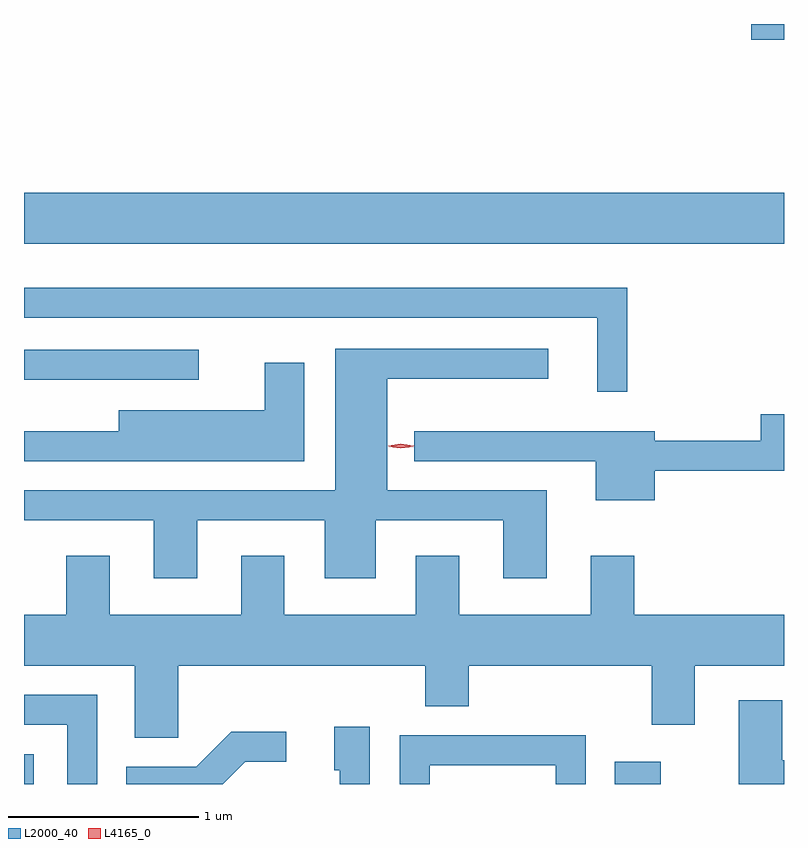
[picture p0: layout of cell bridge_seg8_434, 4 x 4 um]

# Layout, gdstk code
import gdstk
lib = gdstk.Library(unit=1e-6, precision=1e-09)
def R(c, l, rs):  # rectangles x0, y0, x1, y1
    for r in rs: c.add(gdstk.rectangle(r[:2], r[2:], *l))
def P(c, l, *ps):  # polygons
    for p in ps: c.add(gdstk.Polygon(p, *l))
L2000_40 = (2000, 40)
L4165_0 = (4165, 0)

bridge_seg8_434 = lib.new_cell('bridge_seg8_434')
R(bridge_seg8_434, L2000_40, [(981.038,1844.673,981.089,1844.829), (984.146,1844.673,984.389,1844.789), (981.038,1846.801,981.958,1846.959), (981.038,1847.516,985.038,1847.784), (984.866,1848.591,985.038,1848.673)])
P(bridge_seg8_434, L2000_40, [(984.214,1847.284),(981.038,1847.284),(981.038,1847.126),(984.056,1847.126),(984.056,1846.738),(984.214,1846.738)],
  [(981.949,1846.061),(982.621,1846.061),(982.621,1845.756),(982.889,1845.756),(982.889,1846.061),(983.561,1846.061),(983.561,1845.756),(983.789,1845.756),(983.789,1846.219),(982.949,1846.219),(982.949,1846.806),(983.798,1846.806),(983.798,1846.964),(982.676,1846.964),(982.676,1846.219),(981.038,1846.219),(981.038,1846.061),(981.721,1846.061),(981.721,1845.756),(981.949,1845.756)],
  [(982.514,1846.889),(982.306,1846.889),(982.306,1846.639),(981.536,1846.639),(981.536,1846.529),(981.038,1846.529),(981.038,1846.371),(982.514,1846.371)],
  [(984.359,1846.321),(985.038,1846.321),(985.038,1846.619),(984.916,1846.619),(984.916,1846.479),(984.359,1846.479),(984.359,1846.529),(983.093,1846.529),(983.093,1846.371),(984.046,1846.371),(984.046,1846.166),(984.359,1846.166)],
  [(981.849,1845.296),(983.151,1845.296),(983.151,1845.081),(983.379,1845.081),(983.379,1845.296),(984.341,1845.296),(984.341,1844.986),(984.569,1844.986),(984.569,1845.296),(985.038,1845.296),(985.038,1845.564),(984.249,1845.564),(984.249,1845.874),(984.021,1845.874),(984.021,1845.564),(983.329,1845.564),(983.329,1845.874),(983.101,1845.874),(983.101,1845.564),(982.409,1845.564),(982.409,1845.874),(982.181,1845.874),(982.181,1845.564),(981.489,1845.564),(981.489,1845.874),(981.261,1845.874),(981.261,1845.564),(981.038,1845.564),(981.038,1845.296),(981.621,1845.296),(981.621,1844.916),(981.849,1844.916)],
  [(981.424,1845.144),(981.038,1845.144),(981.038,1844.986),(981.266,1844.986),(981.266,1844.673),(981.424,1844.673)],
  [(985.038,1844.799),(985.029,1844.799),(985.029,1845.114),(984.801,1845.114),(984.801,1844.673),(985.038,1844.673)],
  [(982.859,1844.974),(982.671,1844.974),(982.671,1844.746),(982.701,1844.746),(982.701,1844.673),(982.859,1844.673)],
  [(982.202,1844.791),(982.418,1844.791),(982.418,1844.949),(982.129,1844.949),(981.944,1844.764),(981.576,1844.764),(981.576,1844.673),(982.084,1844.673)],
  [(983.174,1844.771),(983.836,1844.771),(983.836,1844.673),(983.994,1844.673),(983.994,1844.929),(983.016,1844.929),(983.016,1844.673),(983.174,1844.673)])
P(bridge_seg8_434, L4165_0, [(983.022,1846.443),(982.954,1846.452),(982.953,1846.453),(982.954,1846.453),(983.022,1846.463),(983.09,1846.453),(983.091,1846.453),(983.09,1846.452)],
  [(983.022,1846.439),(982.958,1846.448),(982.957,1846.449),(982.958,1846.449),(983.022,1846.459),(983.087,1846.449),(983.087,1846.449),(983.087,1846.448)])

lib.write_gds('bridge_seg8_434.gds')
